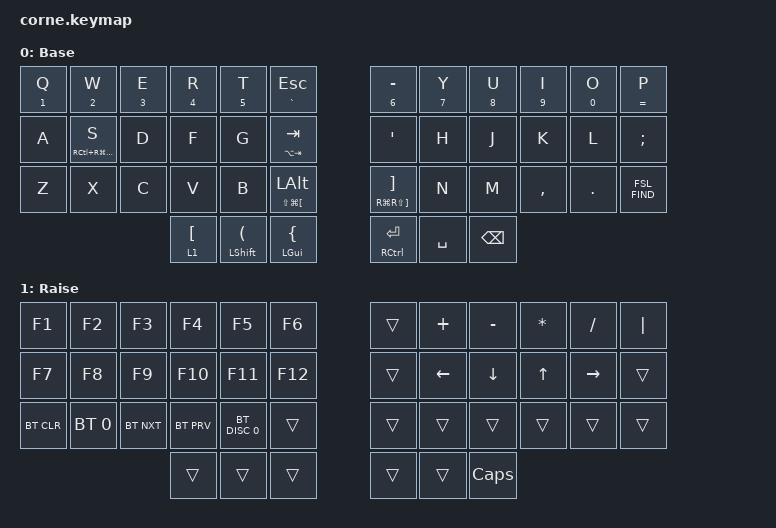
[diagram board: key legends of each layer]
/*
 * Copyright (c) 2020 The ZMK Contributors
 *
 * SPDX-License-Identifier: MIT
 */

#include <behaviors.dtsi>
#include <dt-bindings/zmk/bt.h>
#include <dt-bindings/zmk/keys.h>

&mt {
    flavor = "tap-preferred";
    tapping-term-ms = <200>;
};

/ {
    behaviors {
        FSL_FIND: FSL_FIND {
            compatible = "zmk,behavior-tap-dance";
            label = "FSL_FIND";
            #binding-cells = <0>;
            bindings = <&kp FSLH>, <&kp LC(LG(F))>;
        };
    };

    keymap {
        compatible = "zmk,keymap";

        main {
            // -----------------------------------------------------------------------------------------
            // |  TAB |  Q  |  W  |  E  |  R  |  T  |   |  Y  |  U   |  I  |  O  |  P  | BKSP |
            // | CTRL |  A  |  S  |  D  |  F  |  G  |   |  H  |  J   |  K  |  L  |  ;  |  '   |
            // | SHFT |  Z  |  X  |  C  |  V  |  B  |   |  N  |  M   |  ,  |  .  |  /  | ESC  |
            //                    | GUI | LWR | SPC |   | ENT | RSE  | ALT |

            display-name = "Base";
            bindings = <
&mt NUMBER_1 Q  &mt NUMBER_2 W              &mt N3 E  &mt NUMBER_4 R      &mt N5 T                         &mt GRAVE ESCAPE                     &mt NUMBER_6 MINUS                       &mt N7 Y   &mt N8 U  &mt N9 I   &mt N0 O  &mt EQUAL P
&kp A           &mt RC(RG(RS(NUMBER_4))) S  &kp D     &kp F               &kp G                            &mt LA(TAB) TAB                      &kp SQT                                  &kp H      &kp J     &kp K      &kp L     &kp SEMI
&kp Z           &kp X                       &kp C     &kp V               &kp B                            &mt LS(LG(LEFT_BRACKET)) LEFT_ALT    &mt RG(RS(RIGHT_BRACKET)) RIGHT_BRACKET  &kp N      &kp M     &kp COMMA  &kp DOT   &FSL_FIND
                                                      &lt 1 LEFT_BRACKET  &mt LEFT_SHIFT LEFT_PARENTHESIS  &mt LGUI LEFT_BRACE                  &mt RCTRL RET                            &kp SPACE  &kp BSPC
            >;
        };

        raise_layer {
            // -----------------------------------------------------------------------------------------
            // |  TAB |  !  |  @  |  #  |  $  |  %  |   |  ^  |  &  |  *  |  (  |  )  | BKSP |
            // | CTRL |     |     |     |     |     |   |  -  |  =  |  [  |  ]  |  \  |  `   |
            // | SHFT |     |     |     |     |     |   |  _  |  +  |  {  |  }  | "|" |  ~   |
            //                    | GUI |     | SPC |   | ENT |     | ALT |

            display-name = "Raise";
            bindings = <
&kp F1      &kp F2        &kp F3      &kp F4      &kp F5         &kp F6     &trans  &kp PLUS  &kp MINUS  &kp ASTRK     &kp SLASH  &kp PIPE
&kp F7      &kp F8        &kp F9      &kp F10     &kp F11        &kp F12    &trans  &kp LEFT  &kp DOWN   &kp UP_ARROW  &kp RIGHT  &trans
&bt BT_CLR  &bt BT_SEL 0  &bt BT_NXT  &bt BT_PRV  &bt BT_DISC 0  &trans     &trans  &trans    &trans     &trans        &trans     &trans
                                      &trans      &trans         &trans     &trans  &trans    &kp CAPS
            >;
        };
    };
};
